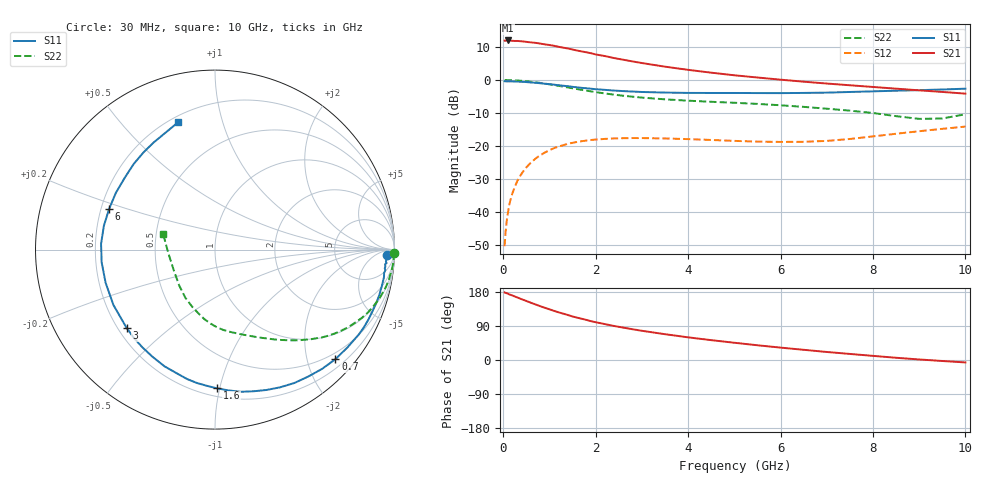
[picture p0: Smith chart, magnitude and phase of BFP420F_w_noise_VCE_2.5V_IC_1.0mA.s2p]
! Infineon Technologies  Discrete & RF Semiconductors
! BFP420F
! VCE =  2.5 V,  IC =  1.0 mA
! Common Emitter S-Parameters:  Sep 2011
# GHz  S  MA  R  50
!  f  S11  S21  S12  S22
! GHz  MAG  ANG  MAG  ANG  MAG  ANG  MAG  ANG
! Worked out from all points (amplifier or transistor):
!   54 points, 30 MHz to 10 GHz, reference 50 ohm
!   highest |S21| = 12.0 dB at 100 MHz (marker M1)
!   |S21| within 3 dB of that: start of sweep to 1.577 GHz
!   unconditionally stable (mu >= 1): 3.592 GHz to end of sweep
!   at 120 MHz: K = 0.02, MSG = 25.4 dB, |S12| = -38.8 dB
!   at 1.3 GHz: K = 0.21, MSG = 14.8 dB, |S12| = -19.8 dB
!   at 10 GHz: K = 1.83, MAG = -0.3 dB, |S12| = -14.2 dB
!   lowest NFmin = 0.80 dB at 450 MHz
!   S11 on the Smith chart (normalised r, x): 30 MHz: 32, -22; 700 MHz: 0.37, -2.54; 1.6 GHz: 0.26, -0.98; 3 GHz: 0.23, -0.36; 6 GHz: 0.23, +0.17; 10 GHz: 0.23, +0.72
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0.03  0.9581 -1.7  3.964 178.3  0.003 91.3  0.9976 -1.0
0.05  0.9571 -3.2  3.942 176.9  0.0049 90.0  0.9981 -1.6
0.1  0.9515 -6.3  3.985 174.9  0.0094 86.7  0.996 -3.3
0.2  0.9514 -12.3  3.936 170.2  0.0192 83.6  0.9914 -6.6
0.3  0.9463 -18.5  3.918 165.3  0.0288 80.2  0.9834 -9.8
0.45  0.9355 -27.6  3.836 158.1  0.0426 75.0  0.9651 -14.4
0.7  0.9071 -42.3  3.666 146.6  0.0642 66.4  0.9236 -22.0
1.1  0.849 -64.6  3.305 129.6  0.0923 53.5  0.8368 -32.6
1.4  0.8052 -79.7  3.01 118.7  0.1074 45.4  0.7709 -39.4
1.6  0.773 -89.2  2.797 111.7  0.1147 40.4  0.7282 -43.4
1.7  0.76 -93.5  2.716 108.8  0.1177 38.2  0.7077 -45.2
2  0.7247 -106.0  2.445 99.7  0.1247 32.1  0.6549 -50.5
2.4  0.6911 -120.3  2.153 89.7  0.1298 25.6  0.5995 -56.6
3  0.6579 -138.5  1.81 77.1  0.1313 18.6  0.5406 -64.4
3.5  0.6446 -151.4  1.594 68.1  0.1296 14.7  0.5087 -69.8
4.5  0.6355 -173.6  1.292 52.4  0.123 10.9  0.467 -79.3
5.5  0.6331 167.9  1.091 38.9  0.1161 12.3  0.4338 -88.4
6  0.632 159.1  1.012 32.7  0.1148 14.8  0.4135 -93.3
7  0.6432 141.2  0.884 21.2  0.1189 21.8  0.3668 -104.6
8.5  0.6878 119.8  0.739 5.9  0.1527 28.1  0.2826 -134.9
9.5  0.7175 110.4  0.659 -2.6  0.1814 26.6  0.2605 -175.3
10  0.7385 106.2  0.621 -6.4  0.1961 24.9  0.3016 163.3
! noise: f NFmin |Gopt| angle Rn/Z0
0.45  0.8  0.67  17  0.46
0.9  0.92  0.64  37  0.43
1.9  1.38  0.51  82  0.32
2.4  1.57  0.51  97  0.3
3.5  2.11  0.52  131  0.19
